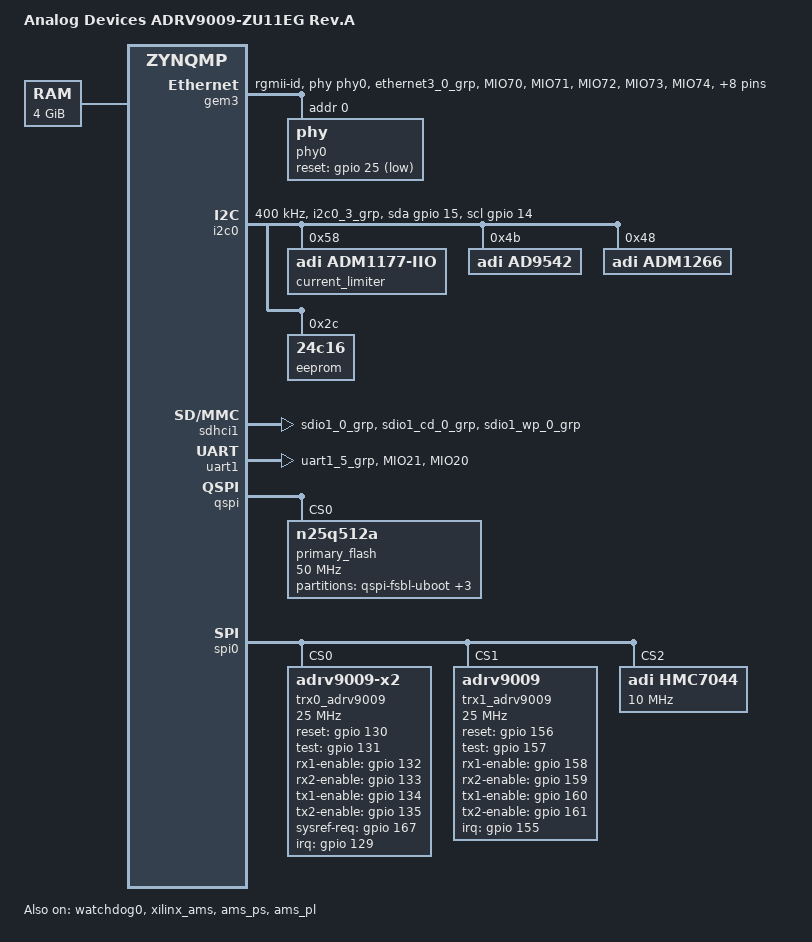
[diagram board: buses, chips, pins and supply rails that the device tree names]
/*
 * dts file for ADRV9009-ZU11EG System on Module
 *
 * Copyright (C) 2019 Analog Devices Inc.
 *
 * Licensed under the GPL-2.
 */

/dts-v1/;

#include "zynqmp.dtsi"
#include "zynqmp-clk-ccf.dtsi"
#include <dt-bindings/input/input.h>
#include <dt-bindings/gpio/gpio.h>
#include <dt-bindings/pinctrl/pinctrl-zynqmp.h>
#include <dt-bindings/phy/phy.h>
#include <dt-bindings/interrupt-controller/irq.h>
#include <dt-bindings/iio/frequency/hmc7044.h>
#include <dt-bindings/jesd204/adxcvr.h>

/ {
	model = "Analog Devices ADRV9009-ZU11EG Rev.A";
	compatible = "xlnx,zynqmp";

	aliases {
		ethernet0 = &gem3;
		ethernet1 = &gem0;
		gpio0 = &gpio;
		i2c0 = &i2c0;
		i2c1 = &i2c1;
		mmc0 = &sdhci1;
		rtc0 = &rtc;
		serial0 = &uart1;
		serial1 = &uart0;
		serial2 = &dcc;
		spi0 = &qspi;
		usb0 = &usb0;
	};

	chosen {
		bootargs = "earlycon";
		stdout-path = "serial0:115200n8";
	};

	memory@0 {
		device_type = "memory";
		reg = <0x0 0x0 0x0 0x80000000>, <0x8 0x00000000 0x0 0x80000000>;
	};
};

&gem3 {
	status = "okay";
	phy-handle = <&phy0>;
	phy-mode = "rgmii-id";
	pinctrl-names = "default";
	pinctrl-0 = <&pinctrl_gem3_default>;

	phy0: phy@0 {
		device_type = "ethernet-phy";
		reg = <0x0>;
		marvell,reg-init = <3 16 0xff00 0x1e 3 17 0xfff0 0x00>;
		reset-gpios = <&gpio 25 GPIO_ACTIVE_LOW>;
	};
};

&gpio {
	status = "okay";
	pinctrl-names = "default";
	pinctrl-0 = <&pinctrl_gpio_default>;
};

&i2c0 {
	status = "okay";
	clock-frequency = <400000>;
	pinctrl-names = "default", "gpio";
	pinctrl-0 = <&pinctrl_i2c0_default>;
	pinctrl-1 = <&pinctrl_i2c0_gpio>;
	scl-gpios = <&gpio 14 GPIO_ACTIVE_HIGH>;
	sda-gpios = <&gpio 15 GPIO_ACTIVE_HIGH>;

	current_limiter@58 { /* U12 */
		compatible = "adi,adm1177-iio";
		reg = <0x58>;
		adi,r-sense-mohm = <10>; /* 10 mOhm */
		adi,shutdown-threshold-ma = <10000>; /* 10 A */
		adi,vrange-high-enable;
	};

	ad9542@4b {
		compatible = "adi,ad9542";
		reg = <0x4b>;
	};

	adm1266@48 {
		compatible = "adi,adm1266";
		reg = <0x48>;
	};

	eeprom@2c { /* U49 */
		compatible = "24c16";
		reg = <0x2c>;
	};
};

&sdhci1 {
	status = "okay";
	pinctrl-names = "default";
	pinctrl-0 = <&pinctrl_sdhci1_default>;
	no-1-8-v;
	xlnx,mio_bank = <1>;
};

&uart1 {
	status = "okay";
	pinctrl-names = "default";
	pinctrl-0 = <&pinctrl_uart1_default>;
};

&watchdog0 {
	status = "okay";
};

&xilinx_ams {
	status = "okay";
};

&ams_ps {
	status = "okay";
};

&ams_pl {
	status = "okay";
};

&qspi {
	status = "okay";
	is-dual = <1>;
	num-cs = <1>;
	primary_flash: qspi@0 {
		#address-cells = <1>;
		#size-cells = <1>;
		spi-tx-bus-width = <1>;
		spi-rx-bus-width = <4>;
		compatible = "n25q512a", "jedec,spi-nor";
		reg = <0x0>;
		spi-max-frequency = <50000000>;
		partition@qspi-fsbl-uboot {
			label = "qspi-fsbl-uboot";
			reg = <0x0 0x2000000>; /* 32M */
		};
		partition@qspi-uboot-env {
			label = "qspi-uboot-env";
			reg = <0x2000000 0x20000>; /* 128k */
		};
		partition@qspi-nvmfs {
			label = "qspi-nvmfs";
			reg = <0x2020000 0xE0000>; /* 1M */
		};
		partition@qspi-linux {
			label = "qspi-linux";
			reg = <0x2100000 0x5E00000>; /* 94M */
		};
	};
};

&spi0 {
	status = "okay";
	num-cs = <8>;
	is-decoded-cs = <1>;

	trx0_adrv9009: adrv9009-phy@0 {
		compatible = "adrv9009-x2";
		reg = <0>;

		#address-cells = <1>;
		#size-cells = <0>;

		/* SPI Setup */
		spi-max-frequency = <25000000>;

		interrupt-parent = <&gpio>;
		interrupts = <129 1>;

		/* Clocks */
		clocks = <&axi_adrv9009_rx_jesd>, <&axi_adrv9009_tx_jesd>,
			<&axi_adrv9009_rx_os_jesd>, <&hmc7044 0>,
			<&hmc7044 5>, <&hmc7044 1>, <&hmc7044 8>,
			<&hmc7044 4>;

		clock-names = "jesd_rx_clk", "jesd_tx_clk", "jesd_rx_os_clk",
			"dev_clk", "fmc_clk", "sysref_dev_clk",
			"sysref_fmc_clk", "fmc2_clk";


		clock-output-names = "rx_sampl_clk", "rx_os_sampl_clk", "tx_sampl_clk";
		#clock-cells = <1>;

		/* JESD204 */

		/* JESD204 RX */
		adi,jesd204-framer-a-bank-id = <1>;
		adi,jesd204-framer-a-device-id = <0>;
		adi,jesd204-framer-a-lane0-id = <0>;
		adi,jesd204-framer-a-m = <4>;
		adi,jesd204-framer-a-k = <32>;
		adi,jesd204-framer-a-f = <4>;
		adi,jesd204-framer-a-np = <16>;
		adi,jesd204-framer-a-scramble = <1>;
		adi,jesd204-framer-a-external-sysref = <1>;
		adi,jesd204-framer-a-serializer-lanes-enabled = <0x03>;
		adi,jesd204-framer-a-serializer-lane-crossbar = <0xE4>;
		adi,jesd204-framer-a-lmfc-offset = <15>;
		adi,jesd204-framer-a-new-sysref-on-relink = <0>;
		adi,jesd204-framer-a-syncb-in-select = <0>;
		adi,jesd204-framer-a-over-sample = <0>;
		adi,jesd204-framer-a-syncb-in-lvds-mode = <1>;
		adi,jesd204-framer-a-syncb-in-lvds-pn-invert = <0>;
		adi,jesd204-framer-a-enable-manual-lane-xbar = <0>;

		/* JESD204 OBS */
		adi,jesd204-framer-b-bank-id = <0>;
		adi,jesd204-framer-b-device-id = <0>;
		adi,jesd204-framer-b-lane0-id = <0>;
		adi,jesd204-framer-b-m = <2>;
		adi,jesd204-framer-b-k = <32>;
		adi,jesd204-framer-b-f = <4>;
		adi,jesd204-framer-b-np = <16>;
		adi,jesd204-framer-b-scramble = <1>;
		adi,jesd204-framer-b-external-sysref = <1>;
		adi,jesd204-framer-b-serializer-lanes-enabled = <0x0C>;
		adi,jesd204-framer-b-serializer-lane-crossbar = <0xE4>;
		adi,jesd204-framer-b-lmfc-offset = <15>;
		adi,jesd204-framer-b-new-sysref-on-relink = <0>;
		adi,jesd204-framer-b-syncb-in-select = <1>;
		adi,jesd204-framer-b-over-sample = <0>;
		adi,jesd204-framer-b-syncb-in-lvds-mode = <1>;
		adi,jesd204-framer-b-syncb-in-lvds-pn-invert = <0>;
		adi,jesd204-framer-b-enable-manual-lane-xbar = <0>;

		/* JESD204 TX */
		adi,jesd204-deframer-a-bank-id = <0>;
		adi,jesd204-deframer-a-device-id = <0>;
		adi,jesd204-deframer-a-lane0-id = <0>;
		adi,jesd204-deframer-a-m = <4>;
		adi,jesd204-deframer-a-k = <32>;
		adi,jesd204-deframer-a-scramble = <1>;
		adi,jesd204-deframer-a-external-sysref = <1>;
		adi,jesd204-deframer-a-deserializer-lanes-enabled = <0x0F>;
		adi,jesd204-deframer-a-deserializer-lane-crossbar = <0xE4>;
		adi,jesd204-deframer-a-lmfc-offset = <1>;
		adi,jesd204-deframer-a-new-sysref-on-relink = <0>;
		adi,jesd204-deframer-a-syncb-out-select = <0>;
		adi,jesd204-deframer-a-np = <16>;
		adi,jesd204-deframer-a-syncb-out-lvds-mode = <1>;
		adi,jesd204-deframer-a-syncb-out-lvds-pn-invert = <0>;
		adi,jesd204-deframer-a-syncb-out-cmos-slew-rate = <0>;
		adi,jesd204-deframer-a-syncb-out-cmos-drive-level = <0>;
		adi,jesd204-deframer-a-enable-manual-lane-xbar = <0>;

		adi,jesd204-ser-amplitude = <15>;
		adi,jesd204-ser-pre-emphasis = <1>;
		adi,jesd204-ser-invert-lane-polarity = <0>;
		adi,jesd204-des-invert-lane-polarity = <0>;
		adi,jesd204-des-eq-setting = <1>;
		adi,jesd204-sysref-lvds-mode = <1>;
		adi,jesd204-sysref-lvds-pn-invert = <0>;

		/* RX */

		adi,rx-profile-rx-fir-gain_db = <(-6)>;
		adi,rx-profile-rx-fir-num-fir-coefs = <48>;
		adi,rx-profile-rx-fir-coefs = /bits/ 16 <(-2) (23) (46) (-17) (-104) (10) (208) (23) (-370) (-97) (607) (240) (-942) (-489) (1407) (910) (-2065) (-1637) (3058) (2995) (-4912) (-6526) (9941) (30489) (30489) (9941) (-6526) (-4912) (2995) (3058) (-1637) (-2065) (910) (1407) (-489) (-942) (240) (607) (-97) (-370) (23) (208) (10) (-104) (-17) (46) (23) (-2)>;

		adi,rx-profile-rx-fir-decimation = <2>;
		adi,rx-profile-rx-dec5-decimation = <4>;
		adi,rx-profile-rhb1-decimation = <1>;
		adi,rx-profile-rx-output-rate_khz = <245760>;
		adi,rx-profile-rf-bandwidth_hz = <200000000>;
		adi,rx-profile-rx-bbf3d-bcorner_khz = <200000>;
		adi,rx-profile-rx-adc-profile = /bits/ 16 <182 142 173 90 1280 982 1335 96 1369 48 1012 18 48 48 37 208 0 0 0 0 52 0 7 6 42 0 7 6 42 0 25 27 0 0 25 27 0 0 165 44 31 905>;
		adi,rx-profile-rx-ddc-mode = <0>;

		adi,rx-nco-shifter-band-a-input-band-width_khz = <0>;
		adi,rx-nco-shifter-band-a-input-center-freq_khz = <0>;
		adi,rx-nco-shifter-band-a-nco1-freq_khz = <0>;
		adi,rx-nco-shifter-band-a-nco2-freq_khz = <0>;
		adi,rx-nco-shifter-band-binput-band-width_khz = <0>;
		adi,rx-nco-shifter-band-binput-center-freq_khz = <0>;
		adi,rx-nco-shifter-band-bnco1-freq_khz = <0>;
		adi,rx-nco-shifter-band-bnco2-freq_khz = <0>;

		adi,rx-gain-control-gain-mode = <0>;
		adi,rx-gain-control-rx1-gain-index = <255>;
		adi,rx-gain-control-rx2-gain-index = <255>;
		adi,rx-gain-control-rx1-max-gain-index = <255>;
		adi,rx-gain-control-rx1-min-gain-index = <195>;
		adi,rx-gain-control-rx2-max-gain-index = <255>;
		adi,rx-gain-control-rx2-min-gain-index = <195>;

		adi,rx-settings-framer-sel = <0>;
		adi,rx-settings-rx-channels = <3>;

		/* ORX */

		adi,orx-profile-rx-fir-gain_db = <6>;
		adi,orx-profile-rx-fir-num-fir-coefs = <24>;
		adi,orx-profile-rx-fir-coefs = /bits/ 16  <(-10) (7) (-10) (-12) (6) (-12) (16) (-16) (1) (63) (-431) (17235) (-431) (63) (1) (-16) (16) (-12) (6) (-12) (-10) (7) (-10) (0)>;
		adi,orx-profile-rx-fir-decimation = <1>;
		adi,orx-profile-rx-dec5-decimation = <4>;
		adi,orx-profile-rhb1-decimation = <2>;
		adi,orx-profile-orx-output-rate_khz = <245760>;
		adi,orx-profile-rf-bandwidth_hz = <200000000>;
		adi,orx-profile-rx-bbf3d-bcorner_khz = <225000>;
		adi,orx-profile-orx-low-pass-adc-profile = /bits/ 16  <185 141 172 90 1280 942 1332 90 1368 46 1016 19 48 48 37 208 0 0 0 0 52 0 7 6 42 0 7 6 42 0 25 27 0 0 25 27 0 0 165 44 31 905>;
		adi,orx-profile-orx-band-pass-adc-profile = /bits/ 16  <0 0 0 0 0 0 0 0 0 0 0 0 0 0 0 0 0 0 0 0 0 0 0 0 0 0 0 0 0 0 0 0 0 0 0 0 0 0 0 0 0 0>;
		adi,orx-profile-orx-ddc-mode = <0>;
		adi,orx-profile-orx-merge-filter = /bits/ 16  <0 0 0 0 0 0 0 0 0 0 0 0>;

		adi,orx-gain-control-gain-mode = <0>;
		adi,orx-gain-control-orx1-gain-index = <255>;
		adi,orx-gain-control-orx2-gain-index = <255>;
		adi,orx-gain-control-orx1-max-gain-index = <255>;
		adi,orx-gain-control-orx1-min-gain-index = <195>;
		adi,orx-gain-control-orx2-max-gain-index = <255>;
		adi,orx-gain-control-orx2-min-gain-index = <195>;

		adi,obs-settings-framer-sel = <1>;
		adi,obs-settings-obs-rx-channels-enable = <3>;
		adi,obs-settings-obs-rx-lo-source = <0>;

		/* TX */

		adi,tx-profile-tx-fir-gain_db = <6>;
		adi,tx-profile-tx-fir-num-fir-coefs = <40>;
		adi,tx-profile-tx-fir-coefs = /bits/ 16  <(-14) (5) (-9) (6) (-4) (19) (-29) (27) (-30) (46) (-63) (77) (-103) (150) (-218) (337) (-599) (1266) (-2718) (19537) (-2718) (1266) (-599) (337) (-218) (150) (-103) (77) (-63) (46) (-30) (27) (-29) (19) (-4) (6) (-9) (5) (-14) (0)>;

		adi,tx-profile-dac-div = <1>;

		adi,tx-profile-tx-fir-interpolation = <1>;
		adi,tx-profile-thb1-interpolation = <2>;
		adi,tx-profile-thb2-interpolation = <2>;
		adi,tx-profile-thb3-interpolation = <2>;
		adi,tx-profile-tx-int5-interpolation = <1>;
		adi,tx-profile-tx-input-rate_khz = <245760>;
		adi,tx-profile-primary-sig-bandwidth_hz = <100000000>;
		adi,tx-profile-rf-bandwidth_hz = <225000000>;
		adi,tx-profile-tx-dac3d-bcorner_khz = <225000>;
		adi,tx-profile-tx-bbf3d-bcorner_khz = <113000>;
		adi,tx-profile-loop-back-adc-profile = /bits/ 16 <206 132 168 90 1280 641 1307 53 1359 28 1039 30 48 48 37 210 0 0 0 0 53 0 7 6 42 0 7 6 42 0 25 27 0 0 25 27 0 0 165 44 31 905>;

		adi,tx-settings-deframer-sel = <0>;
		adi,tx-settings-tx-channels = <3>;
		adi,tx-settings-tx-atten-step-size = <0>;
		adi,tx-settings-tx1-atten_md-b = <10000>;
		adi,tx-settings-tx2-atten_md-b = <10000>;
		adi,tx-settings-dis-tx-data-if-pll-unlock = <0>;

		/* Clocks */

		adi,dig-clocks-device-clock_khz = <245760>;
		adi,dig-clocks-clk-pll-vco-freq_khz = <9830400>;
		adi,dig-clocks-clk-pll-hs-div = <1>;
		adi,dig-clocks-rf-pll-use-external-lo = <0>;
		adi,dig-clocks-rf-pll-phase-sync-mode = <3>;

		/* AGC */

		adi,rxagc-peak-agc-under-range-low-interval_ns = <205>;
		adi,rxagc-peak-agc-under-range-mid-interval = <2>;
		adi,rxagc-peak-agc-under-range-high-interval = <4>;
		adi,rxagc-peak-apd-high-thresh = <39>;
		adi,rxagc-peak-apd-low-gain-mode-high-thresh = <36>;
		adi,rxagc-peak-apd-low-thresh = <23>;
		adi,rxagc-peak-apd-low-gain-mode-low-thresh = <19>;
		adi,rxagc-peak-apd-upper-thresh-peak-exceeded-cnt = <6>;
		adi,rxagc-peak-apd-lower-thresh-peak-exceeded-cnt = <3>;
		adi,rxagc-peak-apd-gain-step-attack = <4>;
		adi,rxagc-peak-apd-gain-step-recovery = <2>;
		adi,rxagc-peak-enable-hb2-overload = <1>;
		adi,rxagc-peak-hb2-overload-duration-cnt = <1>;
		adi,rxagc-peak-hb2-overload-thresh-cnt = <4>;
		adi,rxagc-peak-hb2-high-thresh = <181>;
		adi,rxagc-peak-hb2-under-range-low-thresh = <45>;
		adi,rxagc-peak-hb2-under-range-mid-thresh = <90>;
		adi,rxagc-peak-hb2-under-range-high-thresh = <128>;
		adi,rxagc-peak-hb2-upper-thresh-peak-exceeded-cnt = <6>;
		adi,rxagc-peak-hb2-lower-thresh-peak-exceeded-cnt = <3>;
		adi,rxagc-peak-hb2-gain-step-high-recovery = <2>;
		adi,rxagc-peak-hb2-gain-step-low-recovery = <4>;
		adi,rxagc-peak-hb2-gain-step-mid-recovery = <8>;
		adi,rxagc-peak-hb2-gain-step-attack = <4>;
		adi,rxagc-peak-hb2-overload-power-mode = <1>;
		adi,rxagc-peak-hb2-ovrg-sel = <0>;
		adi,rxagc-peak-hb2-thresh-config = <3>;

		adi,rxagc-power-power-enable-measurement = <1>;
		adi,rxagc-power-power-use-rfir-out = <1>;
		adi,rxagc-power-power-use-bbdc2 = <0>;
		adi,rxagc-power-under-range-high-power-thresh = <9>;
		adi,rxagc-power-under-range-low-power-thresh = <2>;
		adi,rxagc-power-under-range-high-power-gain-step-recovery = <4>;
		adi,rxagc-power-under-range-low-power-gain-step-recovery = <4>;
		adi,rxagc-power-power-measurement-duration = <5>;
		adi,rxagc-power-rx1-tdd-power-meas-duration = <5>;
		adi,rxagc-power-rx1-tdd-power-meas-delay = <1>;
		adi,rxagc-power-rx2-tdd-power-meas-duration = <5>;
		adi,rxagc-power-rx2-tdd-power-meas-delay = <1>;
		adi,rxagc-power-upper0-power-thresh = <2>;
		adi,rxagc-power-upper1-power-thresh = <0>;
		adi,rxagc-power-power-log-shift = <0>;

		adi,rxagc-agc-peak-wait-time = <4>;
		adi,rxagc-agc-rx1-max-gain-index = <255>;
		adi,rxagc-agc-rx1-min-gain-index = <195>;
		adi,rxagc-agc-rx2-max-gain-index = <255>;
		adi,rxagc-agc-rx2-min-gain-index = <195>;
		adi,rxagc-agc-gain-update-counter_us = <250>;
		adi,rxagc-agc-rx1-attack-delay = <10>;
		adi,rxagc-agc-rx2-attack-delay = <10>;
		adi,rxagc-agc-slow-loop-settling-delay = <16>;
		adi,rxagc-agc-low-thresh-prevent-gain = <0>;
		adi,rxagc-agc-change-gain-if-thresh-high = <1>;
		adi,rxagc-agc-peak-thresh-gain-control-mode = <1>;
		adi,rxagc-agc-reset-on-rxon = <0>;
		adi,rxagc-agc-enable-sync-pulse-for-gain-counter = <0>;
		adi,rxagc-agc-enable-ip3-optimization-thresh = <0>;
		adi,rxagc-ip3-over-range-thresh = <31>;
		adi,rxagc-ip3-over-range-thresh-index = <246>;
		adi,rxagc-ip3-peak-exceeded-cnt = <4>;
		adi,rxagc-agc-enable-fast-recovery-loop = <0>;


		/* Misc */

		adi,aux-dac-enables = <0x00>; /* Mask */

		adi,aux-dac-vref0 = <3>;
		adi,aux-dac-resolution0 = <0>;
		adi,aux-dac-values0 = <0>;
		adi,aux-dac-vref1 = <3>;
		adi,aux-dac-resolution1 = <0>;
		adi,aux-dac-values1 = <0>;
		adi,aux-dac-vref2 = <3>;
		adi,aux-dac-resolution2 = <0>;
		adi,aux-dac-values2 = <0>;
		adi,aux-dac-vref3 = <3>;
		adi,aux-dac-resolution3 = <0>;
		adi,aux-dac-values3 = <0>;
		adi,aux-dac-vref4 = <3>;
		adi,aux-dac-resolution4 = <0>;
		adi,aux-dac-values4 = <0>;
		adi,aux-dac-vref5 = <3>;
		adi,aux-dac-resolution5 = <0>;
		adi,aux-dac-values5 = <0>;
		adi,aux-dac-vref6 = <3>;
		adi,aux-dac-resolution6 = <0>;
		adi,aux-dac-values6 = <0>;
		adi,aux-dac-vref7 = <3>;
		adi,aux-dac-resolution7 = <0>;
		adi,aux-dac-values7 = <0>;
		adi,aux-dac-vref8 = <3>;
		adi,aux-dac-resolution8 = <0>;
		adi,aux-dac-values8 = <0>;
		adi,aux-dac-vref9 = <3>;
		adi,aux-dac-resolution9 = <0>;
		adi,aux-dac-values9 = <0>;
		adi,aux-dac-vref10 = <3>;
		adi,aux-dac-resolution10 = <0>;
		adi,aux-dac-values10 = <0>;
		adi,aux-dac-vref11 = <3>;
		adi,aux-dac-resolution11 = <0>;
		adi,aux-dac-values11 = <0>;

		adi,arm-gpio-config-orx1-tx-sel0-pin-gpio-pin-sel = <0>;
		adi,arm-gpio-config-orx1-tx-sel0-pin-polarity = <0>;
		adi,arm-gpio-config-orx1-tx-sel0-pin-enable = <0>;

		adi,arm-gpio-config-orx1-tx-sel1-pin-gpio-pin-sel = <0>;
		adi,arm-gpio-config-orx1-tx-sel1-pin-polarity = <0>;
		adi,arm-gpio-config-orx1-tx-sel1-pin-enable = <0>;
		adi,arm-gpio-config-orx2-tx-sel0-pin-gpio-pin-sel = <0>;
		adi,arm-gpio-config-orx2-tx-sel0-pin-polarity = <0>;
		adi,arm-gpio-config-orx2-tx-sel0-pin-enable = <0>;

		adi,arm-gpio-config-orx2-tx-sel1-pin-gpio-pin-sel = <0>;
		adi,arm-gpio-config-orx2-tx-sel1-pin-polarity = <0>;
		adi,arm-gpio-config-orx2-tx-sel1-pin-enable = <0>;
		adi,arm-gpio-config-en-tx-tracking-cals-gpio-pin-sel = <0>;
		adi,arm-gpio-config-en-tx-tracking-cals-polarity = <0>;
		adi,arm-gpio-config-en-tx-tracking-cals-enable = <0>;

		adi,orx-lo-cfg-disable-aux-pll-relocking = <0>;
		adi,orx-lo-cfg-gpio-select = <19>;

		adi,fhm-config-fhm-gpio-pin = <0>;
		adi,fhm-config-fhm-min-freq_mhz = <2400>;
		adi,fhm-config-fhm-max-freq_mhz = <2500>;

		adi,fhm-mode-fhm-enable = <0>;
		adi,fhm-mode-enable-mcs-sync = <0>;
		adi,fhm-mode-fhm-trigger-mode = <0>;
		adi,fhm-mode-fhm-exit-mode = <1>;
		adi,fhm-mode-fhm-init-frequency_hz = <2450000000>;

		adi,rx1-gain-ctrl-pin-inc-step = <1>;
		adi,rx1-gain-ctrl-pin-dec-step = <1>;
		adi,rx1-gain-ctrl-pin-rx-gain-inc-pin = <0>;
		adi,rx1-gain-ctrl-pin-rx-gain-dec-pin = <1>;
		adi,rx1-gain-ctrl-pin-enable = <0>;

		adi,rx2-gain-ctrl-pin-inc-step = <1>;
		adi,rx2-gain-ctrl-pin-dec-step = <1>;
		adi,rx2-gain-ctrl-pin-rx-gain-inc-pin = <3>;
		adi,rx2-gain-ctrl-pin-rx-gain-dec-pin = <4>;
		adi,rx2-gain-ctrl-pin-enable = <0>;

		adi,tx1-atten-ctrl-pin-step-size = <0>;
		adi,tx1-atten-ctrl-pin-tx-atten-inc-pin = <4>;
		adi,tx1-atten-ctrl-pin-tx-atten-dec-pin = <5>;
		adi,tx1-atten-ctrl-pin-enable = <0>;

		adi,tx2-atten-ctrl-pin-step-size = <0>;
		adi,tx2-atten-ctrl-pin-tx-atten-inc-pin = <6>;
		adi,tx2-atten-ctrl-pin-tx-atten-dec-pin = <7>;
		adi,tx2-atten-ctrl-pin-enable = <0>;

		adi,tx-pa-protection-avg-duration = <3>;
		adi,tx-pa-protection-tx-atten-step = <2>;
		adi,tx-pa-protection-tx1-power-threshold = <4096>;
		adi,tx-pa-protection-tx2-power-threshold = <4096>;
		adi,tx-pa-protection-peak-count = <4>;
		adi,tx-pa-protection-tx1-peak-threshold = <140>;
		adi,tx-pa-protection-tx2-peak-threshold = <140>;
	};

	trx1_adrv9009: adrv9009-phy-b@0 {
		compatible = "adrv9009";
		reg = <1>;

		#address-cells = <1>;
		#size-cells = <0>;

		/* SPI Setup */
		spi-max-frequency = <25000000>;

		interrupt-parent = <&gpio>;
		interrupts = <155 1>;

		/* Clocks */
		clocks = <&axi_adrv9009_rx_jesd>, <&axi_adrv9009_tx_jesd>,
			<&axi_adrv9009_rx_os_jesd>, <&hmc7044 2>,
			<&hmc7044 5>, <&hmc7044 3>, <&hmc7044 9>,
			<&hmc7044 4>;

		clock-names = "jesd_rx_clk", "jesd_tx_clk", "jesd_rx_os_clk",
			"dev_clk", "fmc_clk", "sysref_dev_clk",
			"sysref_fmc_clk", "fmc2_clk";

		clock-output-names = "rx_sampl_clk", "rx_os_sampl_clk", "tx_sampl_clk";
		#clock-cells = <1>;

		/* JESD204 */

		/* JESD204 RX */
		adi,jesd204-framer-a-bank-id = <1>;
		adi,jesd204-framer-a-device-id = <0>;
		adi,jesd204-framer-a-lane0-id = <0>;
		adi,jesd204-framer-a-m = <4>;
		adi,jesd204-framer-a-k = <32>;
		adi,jesd204-framer-a-f = <4>;
		adi,jesd204-framer-a-np = <16>;
		adi,jesd204-framer-a-scramble = <1>;
		adi,jesd204-framer-a-external-sysref = <1>;
		adi,jesd204-framer-a-serializer-lanes-enabled = <0x03>;
		adi,jesd204-framer-a-serializer-lane-crossbar = <0xE4>;
		adi,jesd204-framer-a-lmfc-offset = <15>;
		adi,jesd204-framer-a-new-sysref-on-relink = <0>;
		adi,jesd204-framer-a-syncb-in-select = <0>;
		adi,jesd204-framer-a-over-sample = <0>;
		adi,jesd204-framer-a-syncb-in-lvds-mode = <1>;
		adi,jesd204-framer-a-syncb-in-lvds-pn-invert = <0>;
		adi,jesd204-framer-a-enable-manual-lane-xbar = <0>;

		/* JESD204 OBS */
		adi,jesd204-framer-b-bank-id = <0>;
		adi,jesd204-framer-b-device-id = <0>;
		adi,jesd204-framer-b-lane0-id = <0>;
		adi,jesd204-framer-b-m = <2>;
		adi,jesd204-framer-b-k = <32>;
		adi,jesd204-framer-b-f = <4>;
		adi,jesd204-framer-b-np = <16>;
		adi,jesd204-framer-b-scramble = <1>;
		adi,jesd204-framer-b-external-sysref = <1>;
		adi,jesd204-framer-b-serializer-lanes-enabled = <0x0C>;
		adi,jesd204-framer-b-serializer-lane-crossbar = <0xE4>;
		adi,jesd204-framer-b-lmfc-offset = <15>;
		adi,jesd204-framer-b-new-sysref-on-relink = <0>;
		adi,jesd204-framer-b-syncb-in-select = <1>;
		adi,jesd204-framer-b-over-sample = <0>;
		adi,jesd204-framer-b-syncb-in-lvds-mode = <1>;
		adi,jesd204-framer-b-syncb-in-lvds-pn-invert = <0>;
		adi,jesd204-framer-b-enable-manual-lane-xbar = <0>;

		/* JESD204 TX */
		adi,jesd204-deframer-a-bank-id = <0>;
		adi,jesd204-deframer-a-device-id = <0>;
		adi,jesd204-deframer-a-lane0-id = <0>;
		adi,jesd204-deframer-a-m = <4>;
		adi,jesd204-deframer-a-k = <32>;
		adi,jesd204-deframer-a-scramble = <1>;
		adi,jesd204-deframer-a-external-sysref = <1>;
		adi,jesd204-deframer-a-deserializer-lanes-enabled = <0x0F>;
		adi,jesd204-deframer-a-deserializer-lane-crossbar = <0xE4>;
		adi,jesd204-deframer-a-lmfc-offset = <1>;
		adi,jesd204-deframer-a-new-sysref-on-relink = <0>;
		adi,jesd204-deframer-a-syncb-out-select = <0>;
		adi,jesd204-deframer-a-np = <16>;
		adi,jesd204-deframer-a-syncb-out-lvds-mode = <1>;
		adi,jesd204-deframer-a-syncb-out-lvds-pn-invert = <0>;
		adi,jesd204-deframer-a-syncb-out-cmos-slew-rate = <0>;
		adi,jesd204-deframer-a-syncb-out-cmos-drive-level = <0>;
		adi,jesd204-deframer-a-enable-manual-lane-xbar = <0>;

		adi,jesd204-ser-amplitude = <15>;
		adi,jesd204-ser-pre-emphasis = <1>;
		adi,jesd204-ser-invert-lane-polarity = <0>;
		adi,jesd204-des-invert-lane-polarity = <0>;
		adi,jesd204-des-eq-setting = <1>;
		adi,jesd204-sysref-lvds-mode = <1>;
		adi,jesd204-sysref-lvds-pn-invert = <0>;

		/* RX */

		adi,rx-profile-rx-fir-gain_db = <(-6)>;
		adi,rx-profile-rx-fir-num-fir-coefs = <48>;
		adi,rx-profile-rx-fir-coefs = /bits/ 16 <(-2) (23) (46) (-17) (-104) (10) (208) (23) (-370) (-97) (607) (240) (-942) (-489) (1407) (910) (-2065) (-1637) (3058) (2995) (-4912) (-6526) (9941) (30489) (30489) (9941) (-6526) (-4912) (2995) (3058) (-1637) (-2065) (910) (1407) (-489) (-942) (240) (607) (-97) (-370) (23) (208) (10) (-104) (-17) (46) (23) (-2)>;

		adi,rx-profile-rx-fir-decimation = <2>;
		adi,rx-profile-rx-dec5-decimation = <4>;
		adi,rx-profile-rhb1-decimation = <1>;
		adi,rx-profile-rx-output-rate_khz = <245760>;
		adi,rx-profile-rf-bandwidth_hz = <200000000>;
		adi,rx-profile-rx-bbf3d-bcorner_khz = <200000>;
		adi,rx-profile-rx-adc-profile = /bits/ 16 <182 142 173 90 1280 982 1335 96 1369 48 1012 18 48 48 37 208 0 0 0 0 52 0 7 6 42 0 7 6 42 0 25 27 0 0 25 27 0 0 165 44 31 905>;
		adi,rx-profile-rx-ddc-mode = <0>;

		adi,rx-nco-shifter-band-a-input-band-width_khz = <0>;
		adi,rx-nco-shifter-band-a-input-center-freq_khz = <0>;
		adi,rx-nco-shifter-band-a-nco1-freq_khz = <0>;
		adi,rx-nco-shifter-band-a-nco2-freq_khz = <0>;
		adi,rx-nco-shifter-band-binput-band-width_khz = <0>;
		adi,rx-nco-shifter-band-binput-center-freq_khz = <0>;
		adi,rx-nco-shifter-band-bnco1-freq_khz = <0>;
		adi,rx-nco-shifter-band-bnco2-freq_khz = <0>;

		adi,rx-gain-control-gain-mode = <0>;
		adi,rx-gain-control-rx1-gain-index = <255>;
		adi,rx-gain-control-rx2-gain-index = <255>;
		adi,rx-gain-control-rx1-max-gain-index = <255>;
		adi,rx-gain-control-rx1-min-gain-index = <195>;
		adi,rx-gain-control-rx2-max-gain-index = <255>;
		adi,rx-gain-control-rx2-min-gain-index = <195>;

		adi,rx-settings-framer-sel = <0>;
		adi,rx-settings-rx-channels = <3>;

		/* ORX */

		adi,orx-profile-rx-fir-gain_db = <6>;
		adi,orx-profile-rx-fir-num-fir-coefs = <24>;
		adi,orx-profile-rx-fir-coefs = /bits/ 16  <(-10) (7) (-10) (-12) (6) (-12) (16) (-16) (1) (63) (-431) (17235) (-431) (63) (1) (-16) (16) (-12) (6) (-12) (-10) (7) (-10) (0)>;
		adi,orx-profile-rx-fir-decimation = <1>;
		adi,orx-profile-rx-dec5-decimation = <4>;
		adi,orx-profile-rhb1-decimation = <2>;
		adi,orx-profile-orx-output-rate_khz = <245760>;
		adi,orx-profile-rf-bandwidth_hz = <200000000>;
		adi,orx-profile-rx-bbf3d-bcorner_khz = <225000>;
		adi,orx-profile-orx-low-pass-adc-profile = /bits/ 16  <185 141 172 90 1280 942 1332 90 1368 46 1016 19 48 48 37 208 0 0 0 0 52 0 7 6 42 0 7 6 42 0 25 27 0 0 25 27 0 0 165 44 31 905>;
		adi,orx-profile-orx-band-pass-adc-profile = /bits/ 16  <0 0 0 0 0 0 0 0 0 0 0 0 0 0 0 0 0 0 0 0 0 0 0 0 0 0 0 0 0 0 0 0 0 0 0 0 0 0 0 0 0 0>;
		adi,orx-profile-orx-ddc-mode = <0>;
		adi,orx-profile-orx-merge-filter = /bits/ 16  <0 0 0 0 0 0 0 0 0 0 0 0>;

		adi,orx-gain-control-gain-mode = <0>;
		adi,orx-gain-control-orx1-gain-index = <255>;
		adi,orx-gain-control-orx2-gain-index = <255>;
		adi,orx-gain-control-orx1-max-gain-index = <255>;
		adi,orx-gain-control-orx1-min-gain-index = <195>;
		adi,orx-gain-control-orx2-max-gain-index = <255>;
		adi,orx-gain-control-orx2-min-gain-index = <195>;

		adi,obs-settings-framer-sel = <1>;
		adi,obs-settings-obs-rx-channels-enable = <3>;
		adi,obs-settings-obs-rx-lo-source = <0>;

		/* TX */

		adi,tx-profile-tx-fir-gain_db = <6>;
		adi,tx-profile-tx-fir-num-fir-coefs = <40>;
		adi,tx-profile-tx-fir-coefs = /bits/ 16  <(-14) (5) (-9) (6) (-4) (19) (-29) (27) (-30) (46) (-63) (77) (-103) (150) (-218) (337) (-599) (1266) (-2718) (19537) (-2718) (1266) (-599) (337) (-218) (150) (-103) (77) (-63) (46) (-30) (27) (-29) (19) (-4) (6) (-9) (5) (-14) (0)>;

		adi,tx-profile-dac-div = <1>;

		adi,tx-profile-tx-fir-interpolation = <1>;
		adi,tx-profile-thb1-interpolation = <2>;
		adi,tx-profile-thb2-interpolation = <2>;
		adi,tx-profile-thb3-interpolation = <2>;
		adi,tx-profile-tx-int5-interpolation = <1>;
		adi,tx-profile-tx-input-rate_khz = <245760>;
		adi,tx-profile-primary-sig-bandwidth_hz = <100000000>;
		adi,tx-profile-rf-bandwidth_hz = <225000000>;
		adi,tx-profile-tx-dac3d-bcorner_khz = <225000>;
		adi,tx-profile-tx-bbf3d-bcorner_khz = <113000>;
		adi,tx-profile-loop-back-adc-profile = /bits/ 16 <206 132 168 90 1280 641 1307 53 1359 28 1039 30 48 48 37 210 0 0 0 0 53 0 7 6 42 0 7 6 42 0 25 27 0 0 25 27 0 0 165 44 31 905>;

		adi,tx-settings-deframer-sel = <0>;
		adi,tx-settings-tx-channels = <3>;
		adi,tx-settings-tx-atten-step-size = <0>;
		adi,tx-settings-tx1-atten_md-b = <10000>;
		adi,tx-settings-tx2-atten_md-b = <10000>;
		adi,tx-settings-dis-tx-data-if-pll-unlock = <0>;

		/* Clocks */

		adi,dig-clocks-device-clock_khz = <245760>;
		adi,dig-clocks-clk-pll-vco-freq_khz = <9830400>;
		adi,dig-clocks-clk-pll-hs-div = <1>;
		adi,dig-clocks-rf-pll-use-external-lo = <0>;
		adi,dig-clocks-rf-pll-phase-sync-mode = <3>;

		/* AGC */

		adi,rxagc-peak-agc-under-range-low-interval_ns = <205>;
		adi,rxagc-peak-agc-under-range-mid-interval = <2>;
		adi,rxagc-peak-agc-under-range-high-interval = <4>;
		adi,rxagc-peak-apd-high-thresh = <39>;
		adi,rxagc-peak-apd-low-gain-mode-high-thresh = <36>;
		adi,rxagc-peak-apd-low-thresh = <23>;
		adi,rxagc-peak-apd-low-gain-mode-low-thresh = <19>;
		adi,rxagc-peak-apd-upper-thresh-peak-exceeded-cnt = <6>;
		adi,rxagc-peak-apd-lower-thresh-peak-exceeded-cnt = <3>;
		adi,rxagc-peak-apd-gain-step-attack = <4>;
		adi,rxagc-peak-apd-gain-step-recovery = <2>;
		adi,rxagc-peak-enable-hb2-overload = <1>;
		adi,rxagc-peak-hb2-overload-duration-cnt = <1>;
		adi,rxagc-peak-hb2-overload-thresh-cnt = <4>;
		adi,rxagc-peak-hb2-high-thresh = <181>;
		adi,rxagc-peak-hb2-under-range-low-thresh = <45>;
		adi,rxagc-peak-hb2-under-range-mid-thresh = <90>;
		adi,rxagc-peak-hb2-under-range-high-thresh = <128>;
		adi,rxagc-peak-hb2-upper-thresh-peak-exceeded-cnt = <6>;
		adi,rxagc-peak-hb2-lower-thresh-peak-exceeded-cnt = <3>;
		adi,rxagc-peak-hb2-gain-step-high-recovery = <2>;
		adi,rxagc-peak-hb2-gain-step-low-recovery = <4>;
		adi,rxagc-peak-hb2-gain-step-mid-recovery = <8>;
		adi,rxagc-peak-hb2-gain-step-attack = <4>;
		adi,rxagc-peak-hb2-overload-power-mode = <1>;
		adi,rxagc-peak-hb2-ovrg-sel = <0>;
		adi,rxagc-peak-hb2-thresh-config = <3>;

		adi,rxagc-power-power-enable-measurement = <1>;
		adi,rxagc-power-power-use-rfir-out = <1>;
		adi,rxagc-power-power-use-bbdc2 = <0>;
		adi,rxagc-power-under-range-high-power-thresh = <9>;
		adi,rxagc-power-under-range-low-power-thresh = <2>;
		adi,rxagc-power-under-range-high-power-gain-step-recovery = <4>;
		adi,rxagc-power-under-range-low-power-gain-step-recovery = <4>;
		adi,rxagc-power-power-measurement-duration = <5>;
		adi,rxagc-power-rx1-tdd-power-meas-duration = <5>;
		adi,rxagc-power-rx1-tdd-power-meas-delay = <1>;
		adi,rxagc-power-rx2-tdd-power-meas-duration = <5>;
		adi,rxagc-power-rx2-tdd-power-meas-delay = <1>;
		adi,rxagc-power-upper0-power-thresh = <2>;
		adi,rxagc-power-upper1-power-thresh = <0>;
		adi,rxagc-power-power-log-shift = <0>;

		adi,rxagc-agc-peak-wait-time = <4>;
		adi,rxagc-agc-rx1-max-gain-index = <255>;
		adi,rxagc-agc-rx1-min-gain-index = <195>;
		adi,rxagc-agc-rx2-max-gain-index = <255>;
		adi,rxagc-agc-rx2-min-gain-index = <195>;
		adi,rxagc-agc-gain-update-counter_us = <250>;
		adi,rxagc-agc-rx1-attack-delay = <10>;
		adi,rxagc-agc-rx2-attack-delay = <10>;
		adi,rxagc-agc-slow-loop-settling-delay = <16>;
		adi,rxagc-agc-low-thresh-prevent-gain = <0>;
		adi,rxagc-agc-change-gain-if-thresh-high = <1>;
		adi,rxagc-agc-peak-thresh-gain-control-mode = <1>;
		adi,rxagc-agc-reset-on-rxon = <0>;
		adi,rxagc-agc-enable-sync-pulse-for-gain-counter = <0>;
		adi,rxagc-agc-enable-ip3-optimization-thresh = <0>;
		adi,rxagc-ip3-over-range-thresh = <31>;
		adi,rxagc-ip3-over-range-thresh-index = <246>;
		adi,rxagc-ip3-peak-exceeded-cnt = <4>;
		adi,rxagc-agc-enable-fast-recovery-loop = <0>;


		/* Misc */

		adi,aux-dac-enables = <0x00>; /* Mask */

		adi,aux-dac-vref0 = <3>;
		adi,aux-dac-resolution0 = <0>;
		adi,aux-dac-values0 = <0>;
		adi,aux-dac-vref1 = <3>;
		adi,aux-dac-resolution1 = <0>;
		adi,aux-dac-values1 = <0>;
		adi,aux-dac-vref2 = <3>;
		adi,aux-dac-resolution2 = <0>;
		adi,aux-dac-values2 = <0>;
		adi,aux-dac-vref3 = <3>;
		adi,aux-dac-resolution3 = <0>;
		adi,aux-dac-values3 = <0>;
		adi,aux-dac-vref4 = <3>;
		adi,aux-dac-resolution4 = <0>;
		adi,aux-dac-values4 = <0>;
		adi,aux-dac-vref5 = <3>;
		adi,aux-dac-resolution5 = <0>;
		adi,aux-dac-values5 = <0>;
		adi,aux-dac-vref6 = <3>;
		adi,aux-dac-resolution6 = <0>;
		adi,aux-dac-values6 = <0>;
		adi,aux-dac-vref7 = <3>;
		adi,aux-dac-resolution7 = <0>;
		adi,aux-dac-values7 = <0>;
		adi,aux-dac-vref8 = <3>;
		adi,aux-dac-resolution8 = <0>;
		adi,aux-dac-values8 = <0>;
		adi,aux-dac-vref9 = <3>;
		adi,aux-dac-resolution9 = <0>;
		adi,aux-dac-values9 = <0>;
		adi,aux-dac-vref10 = <3>;
		adi,aux-dac-resolution10 = <0>;
		adi,aux-dac-values10 = <0>;
		adi,aux-dac-vref11 = <3>;
		adi,aux-dac-resolution11 = <0>;
		adi,aux-dac-values11 = <0>;

		adi,arm-gpio-config-orx1-tx-sel0-pin-gpio-pin-sel = <0>;
		adi,arm-gpio-config-orx1-tx-sel0-pin-polarity = <0>;
		adi,arm-gpio-config-orx1-tx-sel0-pin-enable = <0>;

		adi,arm-gpio-config-orx1-tx-sel1-pin-gpio-pin-sel = <0>;
		adi,arm-gpio-config-orx1-tx-sel1-pin-polarity = <0>;
		adi,arm-gpio-config-orx1-tx-sel1-pin-enable = <0>;
		adi,arm-gpio-config-orx2-tx-sel0-pin-gpio-pin-sel = <0>;
		adi,arm-gpio-config-orx2-tx-sel0-pin-polarity = <0>;
		adi,arm-gpio-config-orx2-tx-sel0-pin-enable = <0>;

		adi,arm-gpio-config-orx2-tx-sel1-pin-gpio-pin-sel = <0>;
		adi,arm-gpio-config-orx2-tx-sel1-pin-polarity = <0>;
		adi,arm-gpio-config-orx2-tx-sel1-pin-enable = <0>;
		adi,arm-gpio-config-en-tx-tracking-cals-gpio-pin-sel = <0>;
		adi,arm-gpio-config-en-tx-tracking-cals-polarity = <0>;
		adi,arm-gpio-config-en-tx-tracking-cals-enable = <0>;

		adi,orx-lo-cfg-disable-aux-pll-relocking = <0>;
		adi,orx-lo-cfg-gpio-select = <19>;

		adi,fhm-config-fhm-gpio-pin = <0>;
		adi,fhm-config-fhm-min-freq_mhz = <2400>;
		adi,fhm-config-fhm-max-freq_mhz = <2500>;

		adi,fhm-mode-fhm-enable = <0>;
		adi,fhm-mode-enable-mcs-sync = <0>;
		adi,fhm-mode-fhm-trigger-mode = <0>;
		adi,fhm-mode-fhm-exit-mode = <1>;
		adi,fhm-mode-fhm-init-frequency_hz = <2450000000>;

		adi,rx1-gain-ctrl-pin-inc-step = <1>;
		adi,rx1-gain-ctrl-pin-dec-step = <1>;
		adi,rx1-gain-ctrl-pin-rx-gain-inc-pin = <0>;
		adi,rx1-gain-ctrl-pin-rx-gain-dec-pin = <1>;
		adi,rx1-gain-ctrl-pin-enable = <0>;

		adi,rx2-gain-ctrl-pin-inc-step = <1>;
		adi,rx2-gain-ctrl-pin-dec-step = <1>;
		adi,rx2-gain-ctrl-pin-rx-gain-inc-pin = <3>;
		adi,rx2-gain-ctrl-pin-rx-gain-dec-pin = <4>;
		adi,rx2-gain-ctrl-pin-enable = <0>;

		adi,tx1-atten-ctrl-pin-step-size = <0>;
		adi,tx1-atten-ctrl-pin-tx-atten-inc-pin = <4>;
		adi,tx1-atten-ctrl-pin-tx-atten-dec-pin = <5>;
		adi,tx1-atten-ctrl-pin-enable = <0>;

		adi,tx2-atten-ctrl-pin-step-size = <0>;
		adi,tx2-atten-ctrl-pin-tx-atten-inc-pin = <6>;
		adi,tx2-atten-ctrl-pin-tx-atten-dec-pin = <7>;
		adi,tx2-atten-ctrl-pin-enable = <0>;

		adi,tx-pa-protection-avg-duration = <3>;
		adi,tx-pa-protection-tx-atten-step = <2>;
		adi,tx-pa-protection-tx1-power-threshold = <4096>;
		adi,tx-pa-protection-tx2-power-threshold = <4096>;
		adi,tx-pa-protection-peak-count = <4>;
		adi,tx-pa-protection-tx1-peak-threshold = <140>;
		adi,tx-pa-protection-tx2-peak-threshold = <140>;
	};

	hmc7044: hmc7044@0 {
		#address-cells = <1>;
		#size-cells = <0>;
		#clock-cells = <1>;
		compatible = "adi,hmc7044";
		reg = <2>;
		spi-max-frequency = <10000000>;

		adi,pll1-clkin-frequencies = <30720000 30720000 0 0>;
		adi,pll1-ref-prio-ctrl = <0xE5>; /* prefer CLKIN1 */

		adi,clkin0-buffer-mode  = <0x09>;
		adi,clkin1-buffer-mode  = <0x0b>; // 100term, lvpecl term
		adi,sync-pin-mode = <1>;

		adi,pll1-loop-bandwidth-hz = <200>;
		adi,pfd1-maximum-limit-frequency-hz = <30720000>;
		adi,pll1-charge-pump-current-ua = <1920>;

		adi,vcxo-frequency = <122880000>;

		adi,pll2-output-frequency = <2949120000>;

		adi,sysref-timer-divider = <3840>;
		adi,pulse-generator-mode = <7>;

		adi,oscin-buffer-mode = <0x15>;

		adi,gpi-controls = <0x00 0x00 0x00 0x11>;
		adi,gpo-controls = <0x1f 0x2b 0x00 0x00>;

		adi,high-performance-mode-clock-dist-enable;
		adi,high-performance-mode-pll-vco-enable;

		clock-output-names =
			"hmc7044_out0_DEV_REFCLK_A", "hmc7044_out1_DEV_SYSREF_A",
			"hmc7044_out2_DEV_REFCLK_B", "hmc7044_out3_DEV_SYSREF_B",
			"hmc7044_out4_JESD_REFCLK_TX_OBS_AB", "hmc7044_out5_JESD_REFCLK_RX_AB",
			"hmc7044_out6_CORE_CLK_TX_OBS_AB", "hmc7044_out7_CORE_CLK_RX_AB",
			"hmc7044_out8_FPGA_SYSREF_TX_OBS_AB","hmc7044_out9_FPGA_SYSREF_RX_AB",
			"hmc7044_out10", "hmc7044_out11",
			"hmc7044_out12", "hmc7044_out13";

		hmc7044_c0: channel@0 {
			reg = <0>;
			adi,extended-name = "DEV_REFCLK_A";
			adi,divider = <12>;	// 245760000
			adi,driver-mode = <HMC7044_DRIVER_MODE_LVDS>;	// LVDS
			adi,coarse-digital-delay = <15>;
		};
		hmc7044_c1: channel@1 {
			reg = <1>;
			adi,extended-name = "DEV_SYSREF_A";
			adi,divider = <3840>;	// 768000
			adi,driver-mode = <HMC7044_DRIVER_MODE_LVDS>;	// LVDS
			adi,startup-mode-dynamic-enable;
			adi,high-performance-mode-disable;
			adi,driver-impedance-mode = <HMC7044_DRIVER_IMPEDANCE_100_OHM>;
		};
		hmc7044_c2: channel@2 {
			reg = <2>;
			adi,extended-name = "DEV_REFCLK_B";
			adi,divider = <12>;	// 245760000
			adi,driver-mode = <HMC7044_DRIVER_MODE_LVDS>;	// LVDS
			adi,coarse-digital-delay = <15>;
		};
		hmc7044_c3: channel@3 {
			reg = <3>;
			adi,extended-name = "DEV_SYSREF_B";
			adi,divider = <3840>;	// 768000
			adi,driver-mode = <HMC7044_DRIVER_MODE_LVDS>;	// LVDS
			adi,startup-mode-dynamic-enable;
			adi,high-performance-mode-disable;
			adi,driver-impedance-mode = <HMC7044_DRIVER_IMPEDANCE_100_OHM>;
		};
		hmc7044_c4: channel@4 {
			reg = <4>;
			adi,extended-name = "JESD_REFCLK_TX_OBS_AB";
			adi,divider = <12>;	// 245760000
			adi,driver-mode = <HMC7044_DRIVER_MODE_LVDS>;	// LVDS
		};
		hmc7044_c5: channel@5 {
			reg = <5>;
			adi,extended-name = "JESD_REFCLK_RX_AB";
			adi,divider = <12>;	// 245760000
			adi,driver-mode = <HMC7044_DRIVER_MODE_LVDS>;	// LVDS
		};
		hmc7044_c6: channel@6 {
			reg = <6>;
			adi,extended-name = "CORE_CLK_TX_OBS_AB";
			adi,divider = <24>;	// 122880000
			adi,driver-mode = <HMC7044_DRIVER_MODE_LVDS>;	// LVDS
		};
		hmc7044_c7: channel@7 {
			reg = <7>;
			adi,extended-name = "CORE_CLK_RX_AB";
			adi,divider = <12>;	// 245760000
			adi,driver-mode = <HMC7044_DRIVER_MODE_LVDS>;	// LVDS
		};
		hmc7044_c8: channel@8 {
			reg = <8>;
			adi,extended-name = "FPGA_SYSREF_TX_OBS_AB";
			adi,divider = <3840>;	// 768000
			adi,driver-mode = <HMC7044_DRIVER_MODE_LVDS>;	// LVDS
			adi,startup-mode-dynamic-enable;
			adi,high-performance-mode-disable;
		};
		hmc7044_c9: channel@9 {
			reg = <9>;
			adi,extended-name = "FPGA_SYSREF_RX_AB";
			adi,divider = <3840>;	// 768000
			adi,driver-mode = <HMC7044_DRIVER_MODE_LVDS>;	// LVDS
			adi,startup-mode-dynamic-enable;
			adi,high-performance-mode-disable;
		};
	};
};

&pinctrl0 {
	status = "okay";

	pinctrl_i2c0_default: i2c0-default {
		mux {
			groups = "i2c0_3_grp";
			function = "i2c0";
		};

		conf {
			groups = "i2c0_3_grp";
			bias-pull-up;
			slew-rate = <SLEW_RATE_SLOW>;
			io-standard = <IO_STANDARD_LVCMOS18>;
		};
	};

	pinctrl_i2c0_gpio: i2c0-gpio {
		mux {
			groups = "gpio0_14_grp", "gpio0_15_grp";
			function = "gpio0";
		};

		conf {
			groups = "gpio0_14_grp", "gpio0_15_grp";
			slew-rate = <SLEW_RATE_SLOW>;
			io-standard = <IO_STANDARD_LVCMOS18>;
		};
	};

	pinctrl_i2c1_gpio: i2c1-gpio {
		mux {
			groups = "gpio0_32_grp", "gpio0_33_grp";
			function = "gpio0";
		};

		conf {
			groups = "gpio0_32_grp", "gpio0_33_grp";
			slew-rate = <SLEW_RATE_SLOW>;
			io-standard = <IO_STANDARD_LVCMOS18>;
		};
	};

	pinctrl_uart1_default: uart1-default {
		mux {
			groups = "uart1_5_grp";
			function = "uart1";
		};

		conf {
			groups = "uart1_5_grp";
			slew-rate = <SLEW_RATE_SLOW>;
			io-standard = <IO_STANDARD_LVCMOS18>;
		};

		conf-rx {
			pins = "MIO21";
			bias-high-impedance;
		};

		conf-tx {
			pins = "MIO20";
			bias-disable;
		};
	};

	pinctrl_gem3_default: gem3-default {
		mux {
			function = "ethernet3";
			groups = "ethernet3_0_grp";
		};

		conf {
			groups = "ethernet3_0_grp";
			slew-rate = <SLEW_RATE_SLOW>;
			io-standard = <IO_STANDARD_LVCMOS18>;
		};

		conf-rx {
			pins = "MIO70", "MIO71", "MIO72", "MIO73", "MIO74",
									"MIO75";
			bias-high-impedance;
			low-power-disable;
		};

		conf-tx {
			pins = "MIO64", "MIO65", "MIO66", "MIO67", "MIO68",
									"MIO69";
			bias-disable;
			low-power-enable;
		};

		mux-mdio {
			function = "mdio3";
			groups = "mdio3_0_grp";
		};

		conf-mdio {
			groups = "mdio3_0_grp";
			slew-rate = <SLEW_RATE_SLOW>;
			io-standard = <IO_STANDARD_LVCMOS18>;
			bias-disable;
		};
	};

	pinctrl_sdhci1_default: sdhci1-default {
		mux {
			groups = "sdio1_0_grp";
			function = "sdio1";
		};

		conf {
			groups = "sdio1_0_grp";
			slew-rate = <SLEW_RATE_SLOW>;
			io-standard = <IO_STANDARD_LVCMOS18>;
			bias-disable;
		};

		mux-cd {
			groups = "sdio1_cd_0_grp";
			function = "sdio1_cd";
		};

		conf-cd {
			groups = "sdio1_cd_0_grp";
			bias-high-impedance;
			bias-pull-up;
			slew-rate = <SLEW_RATE_SLOW>;
			io-standard = <IO_STANDARD_LVCMOS18>;
		};

		mux-wp {
			groups = "sdio1_wp_0_grp";
			function = "sdio1_wp";
		};

		conf-wp {
			groups = "sdio1_wp_0_grp";
			bias-high-impedance;
			bias-pull-up;
			slew-rate = <SLEW_RATE_SLOW>;
			io-standard = <IO_STANDARD_LVCMOS18>;
		};
	};

	pinctrl_gpio_default: gpio-default {
		mux-usbsw {
			function = "gpio0";
			groups = "gpio0_35_grp", "gpio0_36_grp", "gpio0_37_grp", "gpio0_38_grp";
		};

		conf-usbsw {
			groups = "gpio0_35_grp", "gpio0_36_grp", "gpio0_37_grp", "gpio0_38_grp";
			slew-rate = <SLEW_RATE_SLOW>;
			io-standard = <IO_STANDARD_LVCMOS18>;
		};
	};

	pinctrl_usb0_default: usb0-default {
		mux {
			groups = "usb0_0_grp";
			function = "usb0";
		};

		conf {
			groups = "usb0_0_grp";
			slew-rate = <SLEW_RATE_SLOW>;
			io-standard = <IO_STANDARD_LVCMOS18>;
		};

		conf-rx {
			pins = "MIO52", "MIO53", "MIO55";
			bias-high-impedance;
		};

		conf-tx {
			pins = "MIO54", "MIO56", "MIO57", "MIO58", "MIO59",
			"MIO60", "MIO61", "MIO62", "MIO63";
			bias-disable;
		};
	};
};


/ {
	fpga_axi: fpga-axi@0 {
		interrupt-parent = <&gic>;
		compatible = "simple-bus";
		#address-cells = <0x2>;
		#size-cells = <0x1>;
		ranges = <0 0 0 0 0xffffffff>;

		axi_adrv9009_adxcvr_rx: axi-adxcvr-rx@84a40000 {
			#address-cells = <1>;
			#size-cells = <0>;
			compatible = "adi,axi-adxcvr-1.0";
			reg = <0x0 0x84a40000 0x1000>;

			clocks = <&hmc7044 5>, <&hmc7044 7>;
			clock-names = "conv", "div40";

			#clock-cells = <1>;
			clock-output-names = "rx_gt_clk", "rx_out_clk";

			adi,sys-clk-select = <XCVR_CPLL>;
			adi,out-clk-select = <XCVR_REFCLK>;
			adi,use-lpm-enable;
		};

		axi_adrv9009_rx_jesd: axi-jesd204-rx@84a50000 {
			compatible = "adi,axi-jesd204-rx-1.0";
			reg = <0x0 0x84a50000 0x1000>;

			interrupts = <0 109 IRQ_TYPE_LEVEL_HIGH>;

			clocks = <&zynqmp_clk 71>, <&hmc7044 7>, <&axi_adrv9009_adxcvr_rx 0>;
			clock-names = "s_axi_aclk", "device_clk", "lane_clk";

			#clock-cells = <0>;
			clock-output-names = "jesd_rx_lane_clk";

			adi,octets-per-frame = <4>;
			adi,frames-per-multiframe = <32>;
		};

		axi_adrv9009_adxcvr_rx_os: axi-adxcvr-rx-os@84a60000 {
			#address-cells = <1>;
			#size-cells = <0>;
			compatible = "adi,axi-adxcvr-1.0";
			reg = <0x0 0x84a60000 0x1000>;

			clocks = <&hmc7044 4>, <&hmc7044 6>;
			clock-names = "conv", "div40";

			#clock-cells = <1>;
			clock-output-names = "rx_os_gt_clk", "rx_os_out_clk";

			adi,sys-clk-select = <XCVR_CPLL>;
			adi,out-clk-select = <XCVR_REFCLK>;
			adi,use-lpm-enable;
		};

		axi_adrv9009_rx_os_jesd: axi-jesd204-rx@84a70000 {
			compatible = "adi,axi-jesd204-rx-1.0";
			reg = <0x0 0x84a70000 0x1000>;

			interrupts = <0 107 IRQ_TYPE_LEVEL_HIGH>;

			clocks = <&zynqmp_clk 71>, <&hmc7044 6>, <&axi_adrv9009_adxcvr_rx_os 0>;
			clock-names = "s_axi_aclk", "device_clk", "lane_clk";

			#clock-cells = <0>;
			clock-output-names = "jesd_rx_os_lane_clk";

			adi,octets-per-frame = <4>;
			adi,frames-per-multiframe = <32>;
		};

		axi_adrv9009_adxcvr_tx: axi-adxcvr-tx@84a20000 {
			#address-cells = <1>;
			#size-cells = <0>;
			compatible = "adi,axi-adxcvr-1.0";
			reg = <0x0 0x84a20000 0x1000>;

			clocks = <&hmc7044 4>, <&hmc7044 6>;
			clock-names = "conv", "div40";

			#clock-cells = <1>;
			clock-output-names = "tx_gt_clk", "tx_out_clk";

			adi,sys-clk-select = <XCVR_QPLL>;
			adi,out-clk-select = <XCVR_REFCLK>;
		};

		axi_adrv9009_tx_jesd: axi-jesd204-tx@84a30000 {
			compatible = "adi,axi-jesd204-tx-1.0";
			reg = <0x0 0x84a30000 0x1000>;

			interrupts = <0 108 IRQ_TYPE_LEVEL_HIGH>;

			clocks = <&zynqmp_clk 71>, <&hmc7044 6>, <&axi_adrv9009_adxcvr_tx 0>;
			clock-names = "s_axi_aclk", "device_clk", "lane_clk";

			#clock-cells = <0>;
			clock-output-names = "jesd_tx_lane_clk";

			adi,octets-per-frame = <2>;
			adi,frames-per-multiframe = <32>;
			adi,converter-resolution = <14>;
			adi,bits-per-sample = <16>;
			adi,converters-per-device = <4>;
			adi,control-bits-per-sample = <2>;
		};

		axi_fan_control: axi-fan-control@80000000 {
			compatible = "adi,axi-fan-control-1.00.a";
			reg = <0x0 0x80000000 0x10000>;
			clocks = <&zynqmp_clk 71>;
			interrupts = <0 110 IRQ_TYPE_LEVEL_HIGH>;

			adi,pulses-per-revolution = <2>;
		};

		rx_dma: dma@9c420000 {
			compatible = "adi,axi-dmac-1.00.a";
			reg = <0x0 0x9c420000 0x10000>;
			#dma-cells = <1>;
			#clock-cells = <0>;
			interrupts = <0 106 IRQ_TYPE_LEVEL_HIGH>;
			clocks = <&zynqmp_clk 73>;

			adi,channels {
				#size-cells = <0>;
				#address-cells = <1>;

				rx_dma_channel: dma-channel@0 {
					reg = <0>;
					adi,source-bus-width = <128>;
					adi,source-bus-type = <2>;
					adi,destination-bus-width = <128>;
					adi,destination-bus-type = <0>;
				};
			};
		};

		rx_obs_dma: dma@9c440000 {
			compatible = "adi,axi-dmac-1.00.a";
			reg = <0x0 0x9c440000 0x10000>;
			#dma-cells = <1>;
			#clock-cells = <0>;
			interrupts = <0 104 IRQ_TYPE_LEVEL_HIGH>;
			clocks = <&zynqmp_clk 73>;

			adi,channels {
				#size-cells = <0>;
				#address-cells = <1>;

				rx_obs_dma_channel: dma-channel@0 {
					reg = <0>;
					adi,source-bus-width = <128>;
					adi,source-bus-type = <2>;
					adi,destination-bus-width = <128>;
					adi,destination-bus-type = <0>;
				};
			};
		};

		tx_dma: dma@9c400000  {
			compatible = "adi,axi-dmac-1.00.a";
			reg = <0x0 0x9c400000 0x10000>;
			#dma-cells = <1>;
			#clock-cells = <0>;
			interrupts = <0 105 IRQ_TYPE_LEVEL_HIGH>;
			clocks = <&zynqmp_clk 73>;

			adi,channels {
				#size-cells = <0>;
				#address-cells = <1>;

				tx_dma_channel: dma-channel@0 {
					reg = <0>;
					adi,source-bus-width = <128>;
					adi,source-bus-type = <0>;
					adi,destination-bus-width = <256>;
					adi,destination-bus-type = <1>;
				};
			};
		};

		axi_adrv9009_core_rx: axi-adrv9009-rx-hpc@84a00000 {
			compatible = "adi,axi-adrv9009-rx-1.0";
			reg = <0x0 0x84a00000 0x8000>;
			dmas = <&rx_dma 0>;
			dma-names = "rx";
			spibus-connected = <&trx0_adrv9009>;
			adi,axi-pl-fifo-enable;
		};

		axi_adrv9009_core_rx_obs: axi-adrv9009-rx-obs-hpc@84a08000 {
			compatible = "adi,axi-adrv9009-obs-1.0";
			reg = <0x0 0x84a08000 0x1000>;
			dmas = <&rx_obs_dma 0>;
			dma-names = "rx";
			clocks = <&trx0_adrv9009 1>;
			clock-names = "sampl_clk";
		};

		axi_adrv9009_core_tx: axi-adrv9009-tx-hpc@84a04000 {
			compatible = "adi,axi-adrv9009-x2-tx-1.0";
			reg = <0x0 0x84a04000 0x4000>;
			dmas = <&tx_dma 0>;
			dma-names = "tx";
			clocks = <&trx0_adrv9009 2>;
			clock-names = "sampl_clk";
			spibus-connected = <&trx0_adrv9009>;
			adi,axi-pl-fifo-enable;
			plddrbypass-gpios = <&gpio 168 0>;
		};

		axi_sysid_0: axi-sysid-0@85000000 {
			compatible = "adi,axi-sysid-1.00.a";
			reg = <0x0 0x85000000 0x10000>;
		};
	};
};

&trx0_adrv9009 {
	reset-gpios = <&gpio 130 0>;
	test-gpios = <&gpio 131 0>;
	rx1-enable-gpios = <&gpio 132 0>;
	rx2-enable-gpios = <&gpio 133 0>;
	tx1-enable-gpios = <&gpio 134 0>;
	tx2-enable-gpios = <&gpio 135 0>;
	sysref-req-gpio = <&gpio 167 0>;
};

&trx1_adrv9009 {
	reset-gpios = <&gpio 156 0>;
	test-gpios = <&gpio 157 0>;
	rx1-enable-gpios = <&gpio 158 0>;
	rx2-enable-gpios = <&gpio 159 0>;
	tx1-enable-gpios = <&gpio 160 0>;
	tx2-enable-gpios = <&gpio 161 0>;
};
